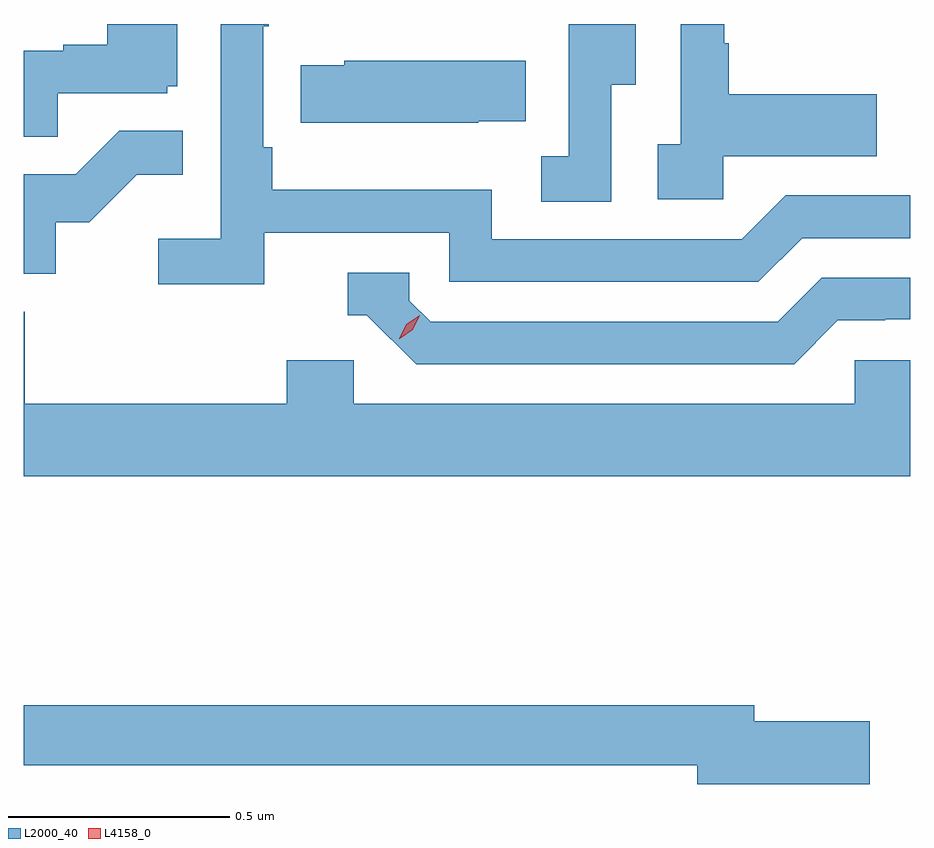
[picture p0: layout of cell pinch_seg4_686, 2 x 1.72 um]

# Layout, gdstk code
import gdstk
lib = gdstk.Library(unit=1e-6, precision=1e-09)
def P(c, l, *ps):  # polygons
    for p in ps: c.add(gdstk.Polygon(p, *l))
L2000_40 = (2000, 40)
L4158_0 = (4158, 0)

pinch_seg4_686 = lib.new_cell('pinch_seg4_686')
P(pinch_seg4_686, L2000_40, [(1130.267,752.397),(1130.514,752.397),(1130.514,752.412),(1130.536,752.412),(1130.536,752.553),(1130.378,752.553),(1130.378,752.506),(1130.279,752.506),(1130.279,752.493),(1130.19,752.493),(1130.19,752.299),(1130.267,752.299)],
  [(1131.768,752.255),(1132.115,752.255),(1132.115,752.395),(1131.781,752.395),(1131.781,752.51),(1131.771,752.51),(1131.771,752.553),(1131.672,752.553),(1131.672,752.282),(1131.621,752.282),(1131.621,752.157),(1131.768,752.157)],
  [(1131.516,752.416),(1131.571,752.416),(1131.571,752.553),(1131.42,752.553),(1131.42,752.255),(1131.357,752.255),(1131.357,752.152),(1131.516,752.152)],
  [(1130.732,752.082),(1131.15,752.082),(1131.15,751.971),(1131.847,751.971),(1131.946,752.07),(1132.19,752.07),(1132.19,752.166),(1131.909,752.166),(1131.81,752.067),(1131.246,752.067),(1131.246,752.179),(1130.75,752.179),(1130.75,752.275),(1130.73,752.275),(1130.73,752.548),(1130.743,752.548),(1130.743,752.553),(1130.634,752.553),(1130.634,752.068),(1130.493,752.068),(1130.493,751.966),(1130.732,751.966)],
  [(1131.215,752.333),(1131.323,752.333),(1131.323,752.47),(1130.913,752.47),(1130.913,752.46),(1130.815,752.46),(1130.815,752.33),(1131.215,752.33)],
  [(1130.262,752.106),(1130.338,752.106),(1130.445,752.213),(1130.549,752.213),(1130.549,752.312),(1130.405,752.312),(1130.307,752.214),(1130.19,752.214),(1130.19,751.989),(1130.262,751.989)],
  [(1132.027,751.884),(1132.134,751.884),(1132.134,751.887),(1132.19,751.887),(1132.19,751.98),(1131.99,751.98),(1131.891,751.881),(1131.108,751.881),(1131.06,751.929),(1131.06,751.992),(1130.921,751.992),(1130.921,751.896),(1130.964,751.896),(1131.075,751.785),(1131.928,751.785)],
  [(1132.19,751.794),(1132.065,751.794),(1132.065,751.696),(1130.934,751.696),(1130.934,751.794),(1130.783,751.794),(1130.783,751.696),(1130.192,751.696),(1130.192,751.904),(1130.19,751.904),(1130.19,751.532),(1132.19,751.532)],
  [(1132.099,750.98),(1131.838,750.98),(1131.838,751.016),(1130.19,751.016),(1130.19,750.88),(1131.71,750.88),(1131.71,750.838),(1132.099,750.838)])
P(pinch_seg4_686, L4158_0, [(1131.037,751.843),(1131.037,751.843),(1131.053,751.876),(1131.083,751.896),(1131.083,751.896),(1131.083,751.895),(1131.068,751.863),(1131.038,751.843)])

lib.write_gds('pinch_seg4_686.gds')
